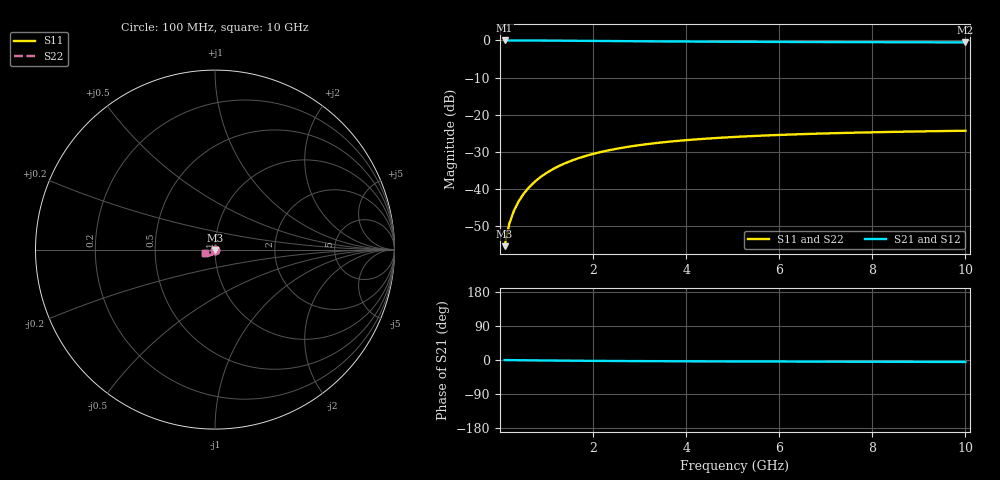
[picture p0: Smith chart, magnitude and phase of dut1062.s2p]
! Touchstone file exported from HFSS 2024.1.0
!  File:  C:/UserFiles/LocalFiles/RDL_TSV_Batchsim/temp_TSV1_1062_1780063625.aedt
!  Generated:  10:12:36 PM May 29, 2026
!  Design:  TSV1
!  Project:  temp_TSV1_1062_1780063625
!  Setup:  Setup1
!  Solution:  Sweep
! Variables:
!  dtsv = 13.54um
!  hbump = 3um
!  htsv = 79.42um
!  lrdl = 252.1521522um
!  p = 40
!  p1 = 47.08um
!  t = 500um
!  trdl = 3um
!  wrdl = 24.89489489um
# GHz S MA R 50.000000
! Terminal data exported
! Port[1] = TSV22_T1
! Port[2] = TSV22_T2
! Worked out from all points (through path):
!   100 points, 100 MHz to 10 GHz, reference 50 ohm
!   highest |S21| = 0.00 dB at 100 MHz (marker M1); lowest = -0.5 dB at 10 GHz (marker M2)
!   lowest |S11| = -55.4 dB at 100 MHz (marker M3), VSWR 1.00, Z = 50 - j0.17 ohm
!   |S11| at or under -10 dB: start of sweep to end of sweep
!   |S22| runs from -55.4 to -24.3 dB; largest |S21 - S12| = 5.3e-15
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0.1  0.001703 -88.7  0.9999 -0.1  0.9999 -0.1  0.001703 -88.7
! Gamma 0 0 0 0
! Port Impedance 50 0 50 0
0.2  0.003404 -91.6  0.9997 -0.3  0.9997 -0.3  0.003404 -91.6
0.3  0.005104 -93.6  0.9994 -0.4  0.9994 -0.4  0.005104 -93.6
0.4  0.006796 -95.5  0.9991 -0.6  0.9991 -0.6  0.006796 -95.5
0.5  0.008474 -97.2  0.9986 -0.7  0.9986 -0.7  0.008474 -97.2
0.6  0.01013 -99.0  0.9981 -0.8  0.9981 -0.8  0.01013 -99.0
0.7  0.01176 -100.6  0.9975 -0.9  0.9975 -0.9  0.01176 -100.6
0.8  0.01337 -102.3  0.9969 -1.1  0.9969 -1.1  0.01337 -102.3
0.9  0.01494 -103.8  0.9961 -1.2  0.9961 -1.2  0.01494 -103.8
1.1  0.01798 -106.9  0.9945 -1.4  0.9945 -1.4  0.01798 -106.9
1.4  0.02226 -111.3  0.9917 -1.7  0.9917 -1.7  0.02226 -111.3
1.6  0.0249 -114.0  0.9897 -1.9  0.9897 -1.9  0.0249 -114.0
1.8  0.02738 -116.6  0.9876 -2.1  0.9876 -2.1  0.02738 -116.6
2.1  0.03079 -120.3  0.9845 -2.4  0.9845 -2.4  0.03079 -120.3
2.5  0.03479 -124.7  0.9803 -2.7  0.9803 -2.7  0.03479 -124.7
2.9  0.03824 -128.6  0.9763 -2.9  0.9763 -2.9  0.03824 -128.6
3.4  0.04189 -132.8  0.9718 -3.1  0.9718 -3.1  0.04189 -132.8
4.2  0.04654 -138.5  0.9654 -3.5  0.9654 -3.5  0.04654 -138.5
5.1  0.05048 -143.7  0.9597 -3.8  0.9597 -3.8  0.05048 -143.7
6.7  0.05536 -150.6  0.9521 -4.3  0.9521 -4.3  0.05536 -150.6
8.4  0.05874 -156.1  0.9465 -4.8  0.9465 -4.8  0.05874 -156.1
10  0.06093 -160.1  0.9428 -5.2  0.9428 -5.2  0.06093 -160.1
